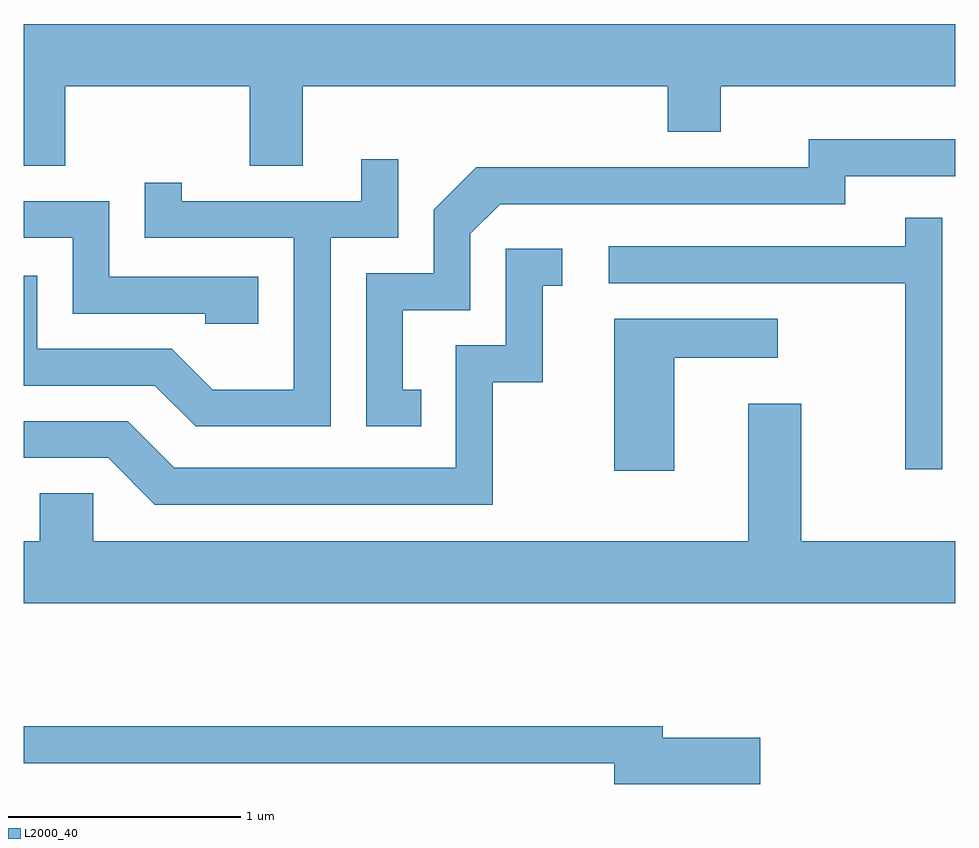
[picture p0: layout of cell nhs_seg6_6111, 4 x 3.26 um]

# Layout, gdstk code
import gdstk
lib = gdstk.Library(unit=1e-6, precision=1e-09)
def P(c, l, *ps):  # polygons
    for p in ps: c.add(gdstk.Polygon(p, *l))
L2000_40 = (2000, 40)

nhs_seg6_6111 = lib.new_cell('nhs_seg6_6111')
P(nhs_seg6_6111, L2000_40, [(369.789,1665.476),(370.581,1665.476),(370.581,1665.136),(370.809,1665.136),(370.809,1665.476),(372.376,1665.476),(372.376,1665.281),(372.604,1665.281),(372.604,1665.476),(373.611,1665.476),(373.611,1665.744),(369.611,1665.744),(369.611,1665.136),(369.789,1665.136)],
  [(371.318,1664.174),(371.239,1664.174),(371.239,1664.516),(371.529,1664.516),(371.529,1664.844),(371.657,1664.971),(373.139,1664.971),(373.139,1665.091),(373.611,1665.091),(373.611,1665.249),(372.981,1665.249),(372.981,1665.129),(371.554,1665.129),(371.371,1664.947),(371.371,1664.674),(371.081,1664.674),(371.081,1664.016),(371.318,1664.016)],
  [(370.929,1664.826),(371.219,1664.826),(371.219,1665.163),(371.061,1665.163),(371.061,1664.984),(370.289,1664.984),(370.289,1665.063),(370.131,1665.063),(370.131,1664.826),(370.771,1664.826),(370.771,1664.174),(370.422,1664.174),(370.247,1664.349),(369.669,1664.349),(369.669,1664.664),(369.611,1664.664),(369.611,1664.191),(370.174,1664.191),(370.349,1664.016),(370.929,1664.016)],
  [(370.619,1664.659),(369.979,1664.659),(369.979,1664.984),(369.611,1664.984),(369.611,1664.826),(369.821,1664.826),(369.821,1664.501),(370.391,1664.501),(370.391,1664.456),(370.619,1664.456)],
  [(373.554,1664.913),(373.396,1664.913),(373.396,1664.789),(372.123,1664.789),(372.123,1664.631),(373.396,1664.631),(373.396,1663.833),(373.554,1663.833)],
  [(371.624,1664.206),(371.839,1664.206),(371.839,1664.621),(371.923,1664.621),(371.923,1664.779),(371.681,1664.779),(371.681,1664.364),(371.466,1664.364),(371.466,1663.839),(370.257,1663.839),(370.057,1664.039),(369.611,1664.039),(369.611,1663.881),(369.974,1663.881),(370.174,1663.681),(371.624,1663.681)],
  [(372.404,1664.311),(372.848,1664.311),(372.848,1664.479),(372.146,1664.479),(372.146,1663.826),(372.404,1663.826)],
  [(373.611,1663.524),(372.949,1663.524),(372.949,1664.114),(372.721,1664.114),(372.721,1663.524),(369.909,1663.524),(369.909,1663.729),(369.681,1663.729),(369.681,1663.524),(369.611,1663.524),(369.611,1663.256),(373.611,1663.256)],
  [(372.774,1662.679),(372.354,1662.679),(372.354,1662.729),(369.611,1662.729),(369.611,1662.571),(372.146,1662.571),(372.146,1662.481),(372.774,1662.481)])

lib.write_gds('nhs_seg6_6111.gds')
